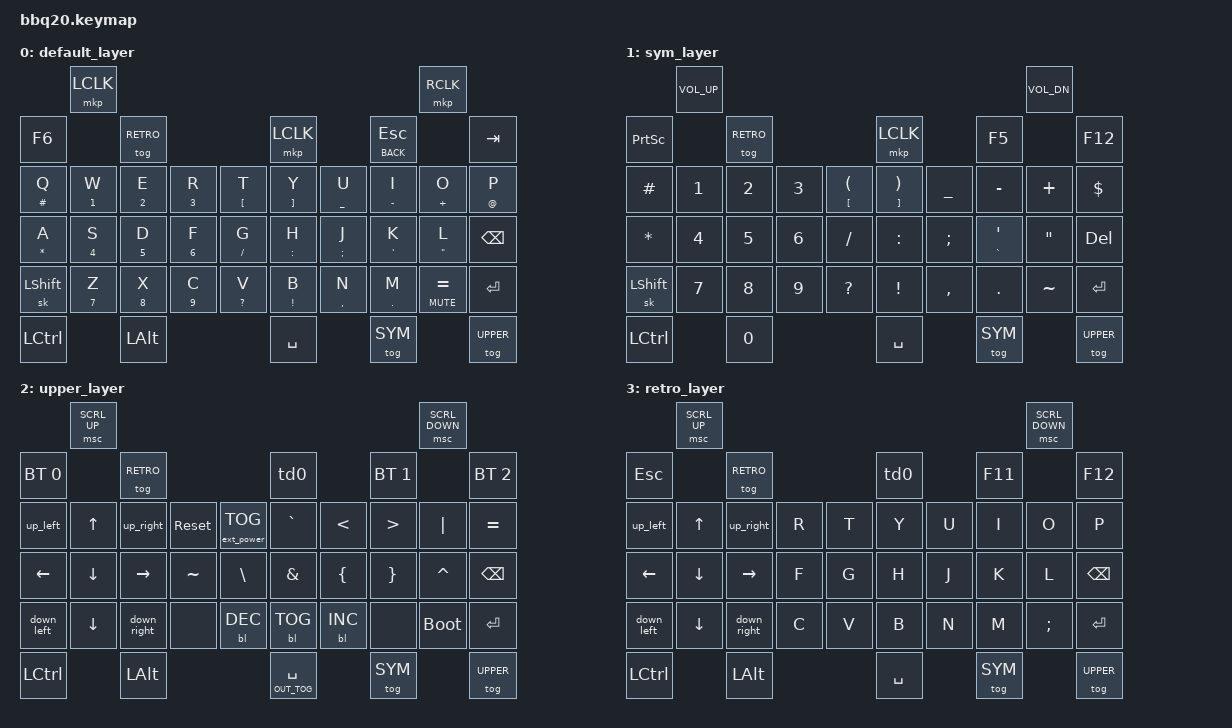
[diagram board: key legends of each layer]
/*
 * Copyright (c) 2023 ZitaoTech
 *
 * SPDX-License-Identifier: MIT
 */
 
#include <behaviors.dtsi>
#include <dt-bindings/zmk/keys.h>
#include <dt-bindings/zmk/bt.h>
#include <dt-bindings/zmk/outputs.h>
#include <dt-bindings/zmk/mouse.h>
#include <dt-bindings/zmk/backlight.h>
#include <dt-bindings/zmk/ext_power.h>

   
#define SYM 1
#define UPPER 2
#define RETRO 3



/ {
    behaviors {
        td0: tap_dance_0 {
            compatible = "zmk,behavior-tap-dance";
            #binding-cells = <0>;
            tapping-term-ms = <400>;
            bindings = <&mkp LCLK>, <&bt BT_CLR>;
        };
    };
    behaviors {
        hm: homerow_mods {
            compatible = "zmk,behavior-hold-tap";
            #binding-cells = <2>;
            tapping-term-ms = <500>;
            bindings = <&out &kp>;
        };
    };

    macros {
        up_right: up_right {
            compatible = "zmk,behavior-macro";
            #binding-cells = <0>;
            tap-ms = <0>;
            wait-ms = <0>;
            bindings = <&macro_press &kp UP &kp RIGHT>
                     , <&macro_pause_for_release>
                     , <&macro_release &kp UP &kp RIGHT>;
        };       
        up_left: up_left {
            compatible = "zmk,behavior-macro";
            #binding-cells = <0>;
            tap-ms = <0>;
            wait-ms = <0>;
            bindings = <&macro_press &kp UP &kp LEFT>
                     , <&macro_pause_for_release>
                     , <&macro_release &kp UP &kp LEFT>;
        };
        down_right: down_right {
            compatible = "zmk,behavior-macro";
            #binding-cells = <0>;
            tap-ms = <0>;
            wait-ms = <0>;
            bindings = <&macro_press &kp DOWN &kp RIGHT>
                     , <&macro_pause_for_release>
                     , <&macro_release &kp DOWN &kp RIGHT>;
        };
        down_left: down_left {
            compatible = "zmk,behavior-macro";
            #binding-cells = <0>;
            tap-ms = <0>;
            wait-ms = <0>;
            bindings = <&macro_press &kp DOWN &kp LEFT>
                     , <&macro_pause_for_release>
                     , <&macro_release &kp DOWN &kp LEFT>;
        };
    };

    keymap {
        compatible = "zmk,keymap";

        default_layer {

            bindings = <
//         --------------------------------------------------------------------------------------------------------------------------         
//         |    Shoulder Key1    |                                                                             |    Shoulder Key2    |     
// |         Call key      |      Blackberry Key        |    Trackpad    |             Back Key                |             Endcall Key          |
// |     Q      |     W    |     E    |     R    |      T      |       Y        |       U        |        I        |       O      |      P        |     
// |     A      |     S    |     D    |     F    |      G      |       H        |       J        |        K        |       L      |      ←        |  
// |     alt    |     Z    |     X    |     C    |      V      |       B        |       N        |        M        |       $      |    Enter      |   
//        |         aA     |         0           |           SPACE              |         SYM         |        aA          |       
//        -----------------------------------------------------------------------------------------------------------------

                 &mkp LCLK                                                                                          &mkp RCLK
    &kp F6                  &tog RETRO                          &mkp LCLK                   &mt K_BACK ESC                    &kp TAB
    &mt HASH Q   &mt N1 W   &mt N2 E   &mt N3 R   &mt LBKT  T   &mt RBKT  Y   &mt UNDER U   &mt MINUS I   &mt PLUS   O        &mt AT P
    &mt STAR A   &mt N4 S   &mt N5 D   &mt N6 F   &mt SLASH G   &mt COLON H   &mt SEMI  J   &mt APOS  K   &mt DQT    L        &kp BSPC
    &sk LSHFT    &mt N7 Z   &mt N8 X   &mt N9 C   &mt QMARK V   &mt EXCL  B   &mt COMMA N   &mt DOT   M   &mt C_MUTE EQUAL    &kp ENTER
    &kp LCTRL               &kp LALT                            &kp SPACE                   &tog SYM                          &tog UPPER
            >;
        };


        sym_layer {

            bindings = <        
                 &kp C_VOL_UP                                                                                       &kp C_VOL_DN
    &kp PSCRN               &tog RETRO                          &mkp LCLK                          &kp F5                            &kp F12 
    &kp HASH     &kp N1     &kp N2      &kp N3    &mt LBKT LPAR &mt RBKT RPAR     &kp UNDER        &kp MINUS        &kp PLUS         &kp DOLLAR
    &kp STAR     &kp N4     &kp N5      &kp N6    &kp SLASH     &kp COLON         &kp SEMI         &mt GRAVE APOS   &kp DQT          &kp DEL
    &sk LSHFT    &kp N7     &kp N8      &kp N9    &kp QMARK     &kp EXCL          &kp COMMA        &kp DOT          &kp TILDE        &kp ENTER
    &kp LCTRL               &kp N0                              &kp SPACE                          &tog SYM                          &tog UPPER
            >;
        };

        upper_layer {

            bindings = <
                 &msc SCRL_UP                                                                                       &msc SCRL_DOWN
    &bt BT_SEL 0            &tog RETRO                               &td0                           &bt BT_SEL 1                     &bt BT_SEL 2
    &up_left     &kp UP     &up_right   &sys_reset &ext_power EP_TOG &kp GRAVE     &kp LT           &kp GT          &kp PIPE         &kp EQUAL
    &kp LEFT     &kp DOWN   &kp RIGHT   &kp TILDE  &kp BSLH          &kp AMPS      &kp LBRC         &kp RBRC        &kp CARET        &kp BSPC
    &down_left   &kp DOWN   &down_right &none      &bl BL_DEC        &bl BL_TOG    &bl BL_INC       &none           &bootloader      &kp ENTER
    &kp LCTRL               &kp LALT                                 &hm OUT_TOG SPACE              &tog SYM                         &tog UPPER
            >;
        };

        retro_layer {

            bindings = <
                 &msc SCRL_UP                                                                       &msc SCRL_DOWN
    &kp ESC      &tog RETRO                               &td0                                      &kp F11       &kp F12
    &up_left     &kp UP     &up_right   &kp R      &kp T        &kp Y      &kp U       &kp I        &kp O         &kp P
    &kp LEFT     &kp DOWN   &kp RIGHT   &kp F      &kp G        &kp H      &kp J       &kp K        &kp L         &kp BSPC
    &down_left   &kp DOWN   &down_right &kp C      &kp V        &kp B      &kp N       &kp M        &kp SEMI      &kp ENTER
    &kp LCTRL               &kp LALT                                 &kp SPACE                      &tog SYM      &tog UPPER
            >;
        };
    };
};

